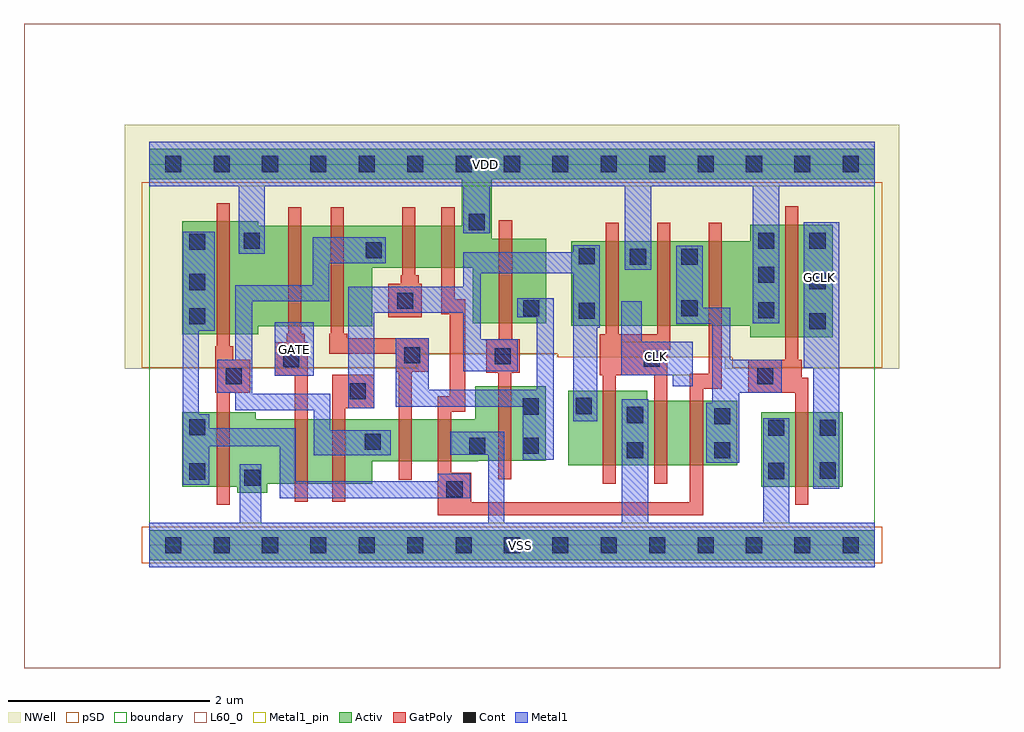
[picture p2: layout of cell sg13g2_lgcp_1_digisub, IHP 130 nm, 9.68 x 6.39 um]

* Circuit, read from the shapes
.subckt sg13g2_lgcp_1_digisub CLK GATE GCLK VDD VSS
XM1 VSS n1 n2 VSS sg13_lv_nmos w=0.74u l=0.13u
XM2 n3 GATE VSS VSS sg13_lv_nmos w=0.64u l=0.13u
XM3 n1 n4 n3 VSS sg13_lv_nmos w=0.64u l=0.13u
XM4 n5 n6 n1 VSS sg13_lv_nmos w=0.42u l=0.13u
XM5 VSS n2 n5 VSS sg13_lv_nmos w=0.42u l=0.13u
XM6 n6 n4 VSS VSS sg13_lv_nmos w=0.74u l=0.13u
XM7 VSS CLK n4 VSS sg13_lv_nmos w=0.74u l=0.13u
XM8 n7 CLK VSS VSS sg13_lv_nmos w=0.64u l=0.13u
XM9 n8 n2 n7 VSS sg13_lv_nmos w=0.64u l=0.13u
XM10 GCLK n8 VSS VSS sg13_lv_nmos w=0.74u l=0.13u
XM11 VDD n1 n2 VDD sg13_lv_pmos w=1.12u l=0.13u
XM12 n9 GATE VDD VDD sg13_lv_pmos w=1u l=0.13u
XM13 n1 n6 n9 VDD sg13_lv_pmos w=1u l=0.13u
XM14 n10 n4 n1 VDD sg13_lv_pmos w=0.42u l=0.13u
XM15 VDD n2 n10 VDD sg13_lv_pmos w=0.42u l=0.13u
XM16 n6 n4 VDD VDD sg13_lv_pmos w=0.84u l=0.13u
XM17 VDD CLK n4 VDD sg13_lv_pmos w=0.84u l=0.13u
XM18 n8 CLK VDD VDD sg13_lv_pmos w=0.84u l=0.13u
XM19 VDD n2 n8 VDD sg13_lv_pmos w=0.84u l=0.13u
XM20 GCLK n8 VDD VDD sg13_lv_pmos w=1.12u l=0.13u
.ends

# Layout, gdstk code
import gdstk
lib = gdstk.Library(unit=1e-6, precision=1e-09)
def R(c, l, rs):  # rectangles x0, y0, x1, y1
    for r in rs: c.add(gdstk.rectangle(r[:2], r[2:], *l))
def A(c, l, x, y, w, h, nx, ny, dx, dy):  # array of equal rectangles
    R(c, l, [(x+i*dx, y+j*dy, x+i*dx+w, y+j*dy+h) for i in range(nx) for j in range(ny)])
def P(c, l, *ps):  # polygons
    for p in ps: c.add(gdstk.Polygon(p, *l))
Activ = (1, 0)
GatPoly = (5, 0)
Cont = (6, 0)
Metal1 = (8, 0)
Metal1_pin = (8, 2)
pSD = (14, 0)
NWell = (31, 0)
L60_0 = (60, 0)
boundary = (189, 4)

sg13g2_lgcp_1_digisub = lib.new_cell('sg13g2_lgcp_1_digisub')
R(sg13g2_lgcp_1_digisub, Activ, [(0,-0.15,7.2,0.15), (6.07,0.58,6.88,1.32), (0.33,3.17,1.085,3.21)])
P(sg13g2_lgcp_1_digisub, Activ, [(7.2,3.93),(0,3.93),(0,3.63),(3.1,3.63),(3.1,3.17),(0.33,3.17),(0.33,2.09),(1.085,2.09),(1.085,2.17),(2.215,2.17),(2.215,2.75),(3.21,2.75),(3.21,2.2),(3.94,2.2),(3.94,3.04),(3.4,3.04),(3.4,3.63),(7.2,3.63)],
  [(6.78,3.18),(5.965,3.18),(5.965,3.015),(4.19,3.015),(4.19,2.175),(5.965,2.175),(5.965,2.06),(6.78,2.06)],
  [(5.835,1.43),(4.94,1.43),(4.94,1.53),(4.16,1.53),(4.16,0.79),(5.835,0.79)],
  [(3.935,1.575),(3.235,1.575),(3.235,1.25),(1.06,1.25),(1.06,1.32),(0.33,1.32),(0.33,0.58),(0.875,0.58),(0.875,0.52),(1.175,0.52),(1.175,0.61),(2.215,0.61),(2.215,0.83),(3.265,0.83),(3.265,0.835),(3.935,0.835)])
P(sg13g2_lgcp_1_digisub, GatPoly, [(6.54,1.66),(6.475,1.66),(6.475,1.84),(6.44,1.84),(6.44,3.36),(6.31,3.36),(6.31,1.84),(5.945,1.84),(5.945,1.51),(6.41,1.51),(6.41,0.4),(6.54,0.4)],
  [(5.68,3.195),(5.55,3.195),(5.55,1.7),(5.365,1.7),(5.365,0.425),(3.195,0.425),(3.195,0.72),(2.995,0.72),(2.995,1.325),(3.135,1.325),(3.135,2.44),(3.03,2.44),(3.03,3.35),(2.9,3.35),(2.9,2.29),(2.985,2.29),(2.985,1.475),(2.865,1.475),(2.865,0.295),(5.495,0.295),(5.495,1.55),(5.68,1.55)],
  [(5.17,3.195),(5.04,3.195),(5.04,2.09),(4.66,2.09),(4.66,3.195),(4.53,3.195),(4.53,2.09),(4.47,2.09),(4.47,1.685),(4.5,1.685),(4.5,0.61),(4.63,0.61),(4.63,1.685),(5.01,1.685),(5.01,0.61),(5.14,0.61),(5.14,1.94),(5.17,1.94)],
  [(3.675,2.04),(3.6,2.04),(3.6,3.22),(3.47,3.22),(3.47,2.04),(3.345,2.04),(3.345,1.71),(3.465,1.71),(3.465,0.655),(3.595,0.655),(3.595,1.71),(3.675,1.71)],
  [(2.775,2.05),(1.965,2.05),(1.965,2.095),(1.93,2.095),(1.93,3.35),(1.8,3.35),(1.8,2.095),(1.785,2.095),(1.785,1.9),(2.445,1.9),(2.445,1.72),(2.475,1.72),(2.475,0.65),(2.605,0.65),(2.605,1.72),(2.775,1.72)],
  [(2.705,2.59),(2.675,2.59),(2.675,2.675),(2.64,2.675),(2.64,3.35),(2.51,3.35),(2.51,2.675),(2.495,2.675),(2.495,2.59),(2.375,2.59),(2.375,2.26),(2.705,2.26)],
  [(2.235,1.69),(1.815,1.69),(1.815,0.43),(1.945,0.43),(1.945,1.36),(2.235,1.36)],
  [(1.575,2.01),(1.545,2.01),(1.545,2.095),(1.51,2.095),(1.51,3.35),(1.38,3.35),(1.38,2.095),(1.365,2.095),(1.365,2.01),(1.245,2.01),(1.245,1.68),(1.445,1.68),(1.445,0.43),(1.575,0.43)],
  [(1.005,1.84),(0.835,1.84),(0.835,1.975),(0.8,1.975),(0.8,3.39),(0.67,3.39),(0.67,1.975),(0.655,1.975),(0.655,1.51),(0.67,1.51),(0.67,0.4),(0.8,0.4),(0.8,1.51),(1.005,1.51)])
A(sg13g2_lgcp_1_digisub, Cont, 0.16, -0.08, 0.16, 0.16, 15, 2, 0.48, 3.78)
A(sg13g2_lgcp_1_digisub, Cont, 6.55, 2.14, 0.16, 0.16, 1, 3, 0, 0.4)
R(sg13g2_lgcp_1_digisub, Cont, [(2.95,0.475,3.11,0.635), (0.945,0.59,1.105,0.75), (0.4,0.65,0.56,0.81), (6.14,0.655,6.3,0.815), (6.65,0.66,6.81,0.82), (4.74,0.86,4.9,1.02), (5.605,0.86,5.765,1.02), (3.175,0.905,3.335,1.065), (3.705,0.905,3.865,1.065), (2.14,0.945,2.3,1.105), (6.14,1.085,6.3,1.245), (6.65,1.085,6.81,1.245), (0.4,1.09,0.56,1.25), (5.605,1.2,5.765,1.36), (4.74,1.21,4.9,1.37), (3.705,1.295,3.865,1.455), (4.23,1.3,4.39,1.46), (1.99,1.445,2.15,1.605), (0.76,1.595,0.92,1.755), (6.03,1.595,6.19,1.755), (1.33,1.765,1.49,1.925), (4.905,1.77,5.065,1.93), (3.43,1.795,3.59,1.955), (2.53,1.805,2.69,1.965), (0.4,2.19,0.56,2.35), (4.26,2.245,4.42,2.405), (6.04,2.25,6.2,2.41), (3.71,2.27,3.87,2.43), (5.28,2.27,5.44,2.43), (2.46,2.345,2.62,2.505), (0.4,2.53,0.56,2.69), (6.04,2.6,6.2,2.76), (4.77,2.78,4.93,2.94), (5.28,2.78,5.44,2.94), (4.26,2.785,4.42,2.945), (2.15,2.845,2.31,3.005), (0.4,2.93,0.56,3.09), (0.94,2.94,1.1,3.1), (6.04,2.94,6.2,3.1), (3.17,3.125,3.33,3.285)])
R(sg13g2_lgcp_1_digisub, Metal1, [(1.245,1.68,1.635,2.21)])
P(sg13g2_lgcp_1_digisub, Metal1, [(7.2,0.22),(6.35,0.22),(6.35,1.26),(6.09,1.26),(6.09,0.22),(4.95,0.22),(4.95,1.445),(4.69,1.445),(4.69,0.22),(3.525,0.22),(3.525,1.125),(2.99,1.125),(2.99,0.895),(3.365,0.895),(3.365,0.22),(1.115,0.22),(1.115,0.8),(0.9,0.8),(0.9,0.22),(0,0.22),(0,-0.22),(7.2,-0.22)],
  [(7.2,4),(0,4),(0,3.56),(0.89,3.56),(0.89,2.89),(1.15,2.89),(1.15,3.56),(3.115,3.56),(3.115,3.095),(3.38,3.095),(3.38,3.56),(4.72,3.56),(4.72,2.73),(4.98,2.73),(4.98,3.56),(5.99,3.56),(5.99,2.2),(6.25,2.2),(6.25,3.56),(7.2,3.56)],
  [(6.845,3.2),(6.495,3.2),(6.495,1.76),(6.59,1.76),(6.59,0.56),(6.845,0.56)],
  [(6.275,1.84),(5.765,1.84),(5.765,2.355),(5.49,2.355),(5.49,2.97),(5.23,2.97),(5.23,2.195),(5.585,2.195),(5.585,1.41),(5.525,1.41),(5.525,0.815),(5.855,0.815),(5.855,1.51),(6.275,1.51)],
  [(5.395,2.015),(4.885,2.015),(4.885,2.42),(4.685,2.42),(4.685,1.685),(5.195,1.685),(5.195,1.575),(5.395,1.575)],
  [(4.47,2.975),(4.205,2.975),(4.205,2.905),(3.115,2.905),(3.115,2.565),(1.975,2.565),(1.975,1.36),(2.235,1.36),(2.235,2.305),(3.115,2.305),(3.115,1.725),(3.655,1.725),(3.655,2.04),(3.29,2.04),(3.29,2.695),(4.205,2.695),(4.205,1.23),(4.445,1.23),(4.445,2.155),(4.47,2.155)],
  [(4.015,2.45),(3.65,2.45),(3.65,2.26),(3.845,2.26),(3.845,1.54),(2.775,1.54),(2.775,2.05),(2.445,2.05),(2.445,1.37),(3.705,1.37),(3.705,0.845),(4.015,0.845)],
  [(3.185,0.71),(2.865,0.71),(2.865,0.635),(1.455,0.635),(1.455,1.16),(0.595,1.16),(0.595,1.3),(0.495,1.3),(0.495,2.125),(0.65,2.125),(0.65,3.11),(0.335,3.11),(0.335,0.6),(0.595,0.6),(0.595,0.98),(1.295,0.98),(1.295,0.465),(3.185,0.465)],
  [(2.395,1.14),(1.795,1.14),(1.795,1.5),(1.025,1.5),(1.025,2.42),(1.785,2.42),(1.785,2.795),(2.35,2.795),(2.35,3.055),(1.625,3.055),(1.625,2.58),(0.855,2.58),(0.855,1.84),(0.675,1.84),(0.675,1.51),(0.855,1.51),(0.855,1.34),(1.635,1.34),(1.635,0.89),(2.395,0.89)])
R(sg13g2_lgcp_1_digisub, Metal1_pin, [(0,-0.22,7.2,0.22), (1.245,1.68,1.635,2.21), (4.685,1.685,5.395,2.015), (6.495,1.76,6.845,3.2), (0,3.56,7.2,4)])
R(sg13g2_lgcp_1_digisub, pSD, [(-0.07,-0.18,7.27,0.18)])
P(sg13g2_lgcp_1_digisub, pSD, [(7.27,3.6),(-0.07,3.6),(-0.07,1.76),(2.655,1.76),(2.655,1.9),(4.055,1.9),(4.055,1.865),(5.785,1.865),(5.785,1.76),(7.27,1.76)])
P(sg13g2_lgcp_1_digisub, NWell, [(7.44,4.17),(-0.24,4.17),(-0.24,1.75),(2.67,1.75),(2.67,1.89),(4.045,1.89),(4.045,1.865),(5.71,1.865),(5.71,1.75),(7.44,1.75)])
R(sg13g2_lgcp_1_digisub, L60_0, [(-1.24,-1.22,8.44,5.17)])
R(sg13g2_lgcp_1_digisub, boundary, [(0,0,7.2,3.78)])
sg13g2_lgcp_1_digisub.add(gdstk.Label('GCLK', (6.65,2.655), layer=8, texttype=25))
sg13g2_lgcp_1_digisub.add(gdstk.Label('VDD', (3.34,3.78), layer=8, texttype=25))
sg13g2_lgcp_1_digisub.add(gdstk.Label('CLK', (5.03,1.87), layer=8, texttype=25))
sg13g2_lgcp_1_digisub.add(gdstk.Label('VSS', (3.68,0), layer=8, texttype=25))
sg13g2_lgcp_1_digisub.add(gdstk.Label('GATE', (1.44,1.94), layer=8, texttype=25))

lib.write_gds('sg13g2_lgcp_1_digisub.gds')
